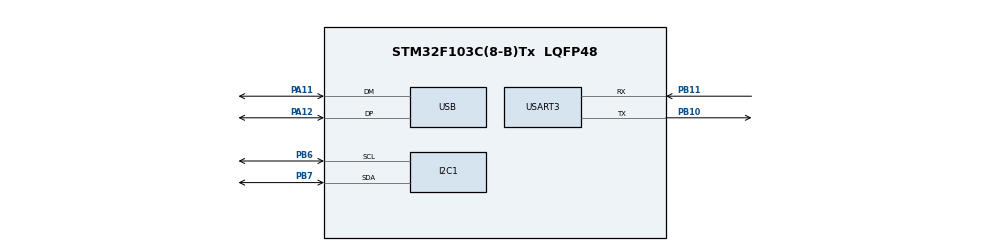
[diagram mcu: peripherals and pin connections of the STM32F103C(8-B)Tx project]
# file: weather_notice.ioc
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Dma.Request0=USART3_RX
Dma.USART3_RX.0.Direction=DMA_PERIPH_TO_MEMORY
Dma.USART3_RX.0.Instance=DMA1_Channel3
Dma.USART3_RX.0.MemDataAlignment=DMA_MDATAALIGN_BYTE
Dma.USART3_RX.0.MemInc=DMA_MINC_ENABLE
Dma.USART3_RX.0.Mode=DMA_NORMAL
Dma.USART3_RX.0.PeriphDataAlignment=DMA_PDATAALIGN_BYTE
Dma.USART3_RX.0.PeriphInc=DMA_PINC_DISABLE
Dma.USART3_RX.0.Priority=DMA_PRIORITY_LOW
Mcu.Family=STM32F1
Mcu.Name=STM32F103C(8-B)Tx
Mcu.Package=LQFP48
NVIC.DMA1_Channel3_IRQn=true\:0\:0\:false\:false\:true\:false\:true\:true
NVIC.PriorityGroup=NVIC_PRIORITYGROUP_4
NVIC.USART3_IRQn=true\:0\:0\:false\:false\:true\:true\:true\:true
NVIC.USB_LP_CAN1_RX0_IRQn=true\:0\:0\:false\:false\:true\:false\:true\:true
PA11.Mode=Device
PA11.Signal=USB_DM
PA12.Mode=Device
PA12.Signal=USB_DP
PA13.Mode=Serial_Wire
PA13.Signal=SYS_JTMS-SWDIO
PA14.Mode=Serial_Wire
PA14.Signal=SYS_JTCK-SWCLK
PB10.Mode=Asynchronous
PB10.Signal=USART3_TX
PB11.Mode=Asynchronous
PB11.Signal=USART3_RX
PB6.Mode=I2C
PB6.Signal=I2C1_SCL
PB7.Mode=I2C
PB7.Signal=I2C1_SDA
PD0-OSC_IN.Mode=HSE-External-Oscillator
PD0-OSC_IN.Signal=RCC_OSC_IN
PD1-OSC_OUT.Mode=HSE-External-Oscillator
PD1-OSC_OUT.Signal=RCC_OSC_OUT
ProjectManager.HeapSize=0x200
ProjectManager.StackSize=0x400
ProjectManager.TargetToolchain=STM32CubeIDE
RCC.AHBFreq_Value=48000000
RCC.APB1CLKDivider=RCC_HCLK_DIV2
RCC.APB1Freq_Value=24000000
RCC.APB1TimFreq_Value=48000000
RCC.APB2Freq_Value=48000000
RCC.APB2TimFreq_Value=48000000
RCC.HCLKFreq_Value=48000000
RCC.PLLMUL=RCC_PLL_MUL6
RCC.SYSCLKFreq_VALUE=48000000
RCC.SYSCLKSource=RCC_SYSCLKSOURCE_PLLCLK
RCC.USBFreq_Value=48000000
USART3.VirtualMode=VM_ASYNC
USB_DEVICE.CLASS_NAME_FS=CDC
USB_DEVICE.VirtualMode=Cdc
USB_DEVICE.VirtualModeFS=Cdc_FS
VP_USB_DEVICE_VS_USB_DEVICE_CDC_FS.Mode=CDC_FS
board=custom

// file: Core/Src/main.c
/* USER CODE BEGIN Header */
/**
  ******************************************************************************
  * @file           : main.c
  * @brief          : Main program body
  ******************************************************************************
  * @attention
  *
  * Copyright (c) 2023 STMicroelectronics.
  * All rights reserved.
  *
  * This software is licensed under terms that can be found in the LICENSE file
  * in the root directory of this software component.
  * If no LICENSE file comes with this software, it is provided AS-IS.
  *
  ******************************************************************************
  */
/* USER CODE END Header */
#include "main.h"
#include "usb_device.h"

/* USER CODE BEGIN Includes */
#include "../../user_lib/esp8266client.h"
#include "../../user_lib/openweather.h"
#include "../../user_lib/ssd1315/ssd1315.h"
/* USER CODE END Includes */

/* USER CODE BEGIN PV */
uint8_t esp_buf[DMA_BUF_SIZE];
/* USER CODE END PV */

void SystemClock_Config(void);
static void MX_GPIO_Init(void);
static void MX_DMA_Init(void);
static void MX_USART3_UART_Init(void);
static void MX_I2C1_Init(void);

/* USER CODE BEGIN 0 */
extern uint8_t CDC_Transmit_FS(uint8_t* Buf, uint16_t Len);

int _write(int32_t file, uint8_t *ptr, int32_t len) {
//	while(CDC_Transmit_FS( (uint8_t*)ptr, (uint16_t)len) == USBD_BUSY);
	CDC_Transmit_FS( (uint8_t*)ptr, (uint16_t)len);
  return len;
}

/**
 * USB CDC ?��결을 초기?�� ?��?��.
 * MX_USB_DEVICE_Init ?��?�� ?��?��?��?��?��?��.
 */
void CDC_RESET() {

	// 초기?���? ?��?�� 출력모드�? �?�?
	LL_GPIO_InitTypeDef GPIO_InitStruct = {0};
	LL_GPIO_ResetOutputPin(GPIOA, LL_GPIO_PIN_12);

	GPIO_InitStruct.Pin = LL_GPIO_PIN_12;
	GPIO_InitStruct.Mode = LL_GPIO_MODE_OUTPUT;
	GPIO_InitStruct.Speed = LL_GPIO_SPEED_FREQ_LOW;
	GPIO_InitStruct.OutputType = LL_GPIO_OUTPUT_OPENDRAIN;
	LL_GPIO_Init(GPIOA, &GPIO_InitStruct);

	// 초기?��
	LL_GPIO_ResetOutputPin(GPIOA, LL_GPIO_PIN_12);
	HAL_Delay(400);
	LL_GPIO_SetOutputPin(GPIOA, LL_GPIO_PIN_12);

//	//?��?��모드�? �?�?
//	GPIO_InitStruct.Mode = LL_GPIO_MODE_INPUT;
//	LL_GPIO_Init(GPIOA, &GPIO_InitStruct);
}

void weather_display(struct weater *W, struct particulate_matter *PM){

	char buf[8];
	ssd1315_Clear(SSD1315_COLOR_BLACK);
	//weather icon
	ssd1315_gotoXY(16, 0);
	ssd1315_weather(W->weather_ID, &weather_icon, SSD1315_COLOR_WHITE);

	//city
	ssd1315_gotoXY(0, 30);
	ssd1315_Puts(W->city, &Font_7x10, SSD1315_COLOR_WHITE);

	//temp
	sprintf(buf, "%d'C", W->temp);
	ssd1315_gotoXY(0, 40);
	ssd1315_Puts(buf, &Font_7x10, SSD1315_COLOR_WHITE);

	//humidity
	sprintf(buf, "%d%c", W->humidity, '%');
	ssd1315_gotoXY(0, 50);
	ssd1315_Puts(buf, &Font_7x10, SSD1315_COLOR_WHITE);

	//pm10
	ssd1315_gotoXY(55, 0);
	ssd1315_Puts("PM10", &Font_7x10, SSD1315_COLOR_WHITE);
	sprintf(buf, "%d", PM->pm10);
	ssd1315_gotoXY(93, 0);
	ssd1315_Puts(buf, &Font_11x18, SSD1315_COLOR_WHITE);

	//pm2.5
	ssd1315_gotoXY(55, 32);
	ssd1315_Puts("PM2.5", &Font_7x10, SSD1315_COLOR_WHITE);
	sprintf(buf, "%d", PM->pm2_5);
	ssd1315_gotoXY(93, 32);
	ssd1315_Puts(buf, &Font_11x18, SSD1315_COLOR_WHITE);

	//time
	ssd1315_gotoXY(50, 50);
	ssd1315_Puts(W->time_str, &Font_7x10, SSD1315_COLOR_WHITE);

	ssd1315_Refresh();
}

void connect_error() {
	ssd1315_Clear(SSD1315_COLOR_BLACK);
	ssd1315_gotoXY(0, 20);
	ssd1315_Puts("wifi error", &Font_11x18, SSD1315_COLOR_WHITE);
	ssd1315_gotoXY(0, 40);
	ssd1315_Puts("Press reset", &Font_11x18, SSD1315_COLOR_WHITE);

	ssd1315_Refresh();
}

/* USER CODE END 0 */

int main(void)
{

  /* MCU Configuration--------------------------------------------------------*/

  /* Reset of all peripherals, Initializes the Flash interface and the Systick. */
  HAL_Init();

  /* Configure the system clock */
  SystemClock_Config();

  /* Initialize all configured peripherals */
  MX_GPIO_Init();
  MX_DMA_Init();
  MX_USART3_UART_Init();
  MX_I2C1_Init();
  CDC_RESET();
  MX_USB_DEVICE_Init();
  /* USER CODE BEGIN 2 */
  ssd1315_Init();
  //wifi Connecting display
  ssd1315_Clear(SSD1315_COLOR_BLACK);
  ssd1315_gotoXY(0, 10);
  ssd1315_Puts("wifi Connecting", &Font_7x10, SSD1315_COLOR_WHITE);
  ssd1315_Refresh();

  esp8266_init(USART3, DMA1, LL_DMA_CHANNEL_3);
  client_init("SSID", "passward", 80);

  weather_init("longitude", "latitude", "api_key");

  /* USER CODE END 2 */

  /* Infinite loop */
  /* USER CODE BEGIN WHILE */

  struct weater W;
  struct particulate_matter PM;

  bool W_connect = false, PM_connect = false;
  int wifi_error = 0;

  while (1)
  {
	  W_connect = weather_get(esp_buf, &W);
	  PM_connect = air_pollution_get(esp_buf, &PM);

	  if (wifi_error > 5) {
		  connect_error();
		  while (1);
	  }

	  if (W_connect & PM_connect) {
		  wifi_error = 0;
		  weather_display(&W, &PM);
		  LL_mDelay(30*60*1000);
	  }

	  wifi_error++;

	  LL_mDelay(2000);

    /* USER CODE END WHILE */

  }
}

void SystemClock_Config(void)
{
  LL_FLASH_SetLatency(LL_FLASH_LATENCY_1);
  while(LL_FLASH_GetLatency()!= LL_FLASH_LATENCY_1)
  {
  }
  LL_RCC_HSE_Enable();

   /* Wait till HSE is ready */
  while(LL_RCC_HSE_IsReady() != 1)
  {

  }
  LL_RCC_PLL_ConfigDomain_SYS(LL_RCC_PLLSOURCE_HSE_DIV_1, LL_RCC_PLL_MUL_6);
  LL_RCC_PLL_Enable();

   /* Wait till PLL is ready */
  while(LL_RCC_PLL_IsReady() != 1)
  {

  }
  LL_RCC_SetAHBPrescaler(LL_RCC_SYSCLK_DIV_1);
  LL_RCC_SetAPB1Prescaler(LL_RCC_APB1_DIV_2);
  LL_RCC_SetAPB2Prescaler(LL_RCC_APB2_DIV_1);
  LL_RCC_SetSysClkSource(LL_RCC_SYS_CLKSOURCE_PLL);

   /* Wait till System clock is ready */
  while(LL_RCC_GetSysClkSource() != LL_RCC_SYS_CLKSOURCE_STATUS_PLL)
  {

  }
  LL_SetSystemCoreClock(48000000);

   /* Update the time base */
  if (HAL_InitTick (TICK_INT_PRIORITY) != HAL_OK)
  {
    Error_Handler();
  }
  LL_RCC_SetUSBClockSource(LL_RCC_USB_CLKSOURCE_PLL);
}

static void MX_I2C1_Init(void)
{

  LL_I2C_InitTypeDef I2C_InitStruct = {0};

  LL_GPIO_InitTypeDef GPIO_InitStruct = {0};

  LL_APB2_GRP1_EnableClock(LL_APB2_GRP1_PERIPH_GPIOB);
  /**I2C1 GPIO Configuration
  PB6   ------> I2C1_SCL
  PB7   ------> I2C1_SDA
  */
  GPIO_InitStruct.Pin = LL_GPIO_PIN_6|LL_GPIO_PIN_7;
  GPIO_InitStruct.Mode = LL_GPIO_MODE_ALTERNATE;
  GPIO_InitStruct.Speed = LL_GPIO_SPEED_FREQ_HIGH;
  GPIO_InitStruct.OutputType = LL_GPIO_OUTPUT_OPENDRAIN;
  LL_GPIO_Init(GPIOB, &GPIO_InitStruct);

  /* Peripheral clock enable */
  LL_APB1_GRP1_EnableClock(LL_APB1_GRP1_PERIPH_I2C1);

  /** I2C Initialization
  */
  LL_I2C_DisableOwnAddress2(I2C1);
  LL_I2C_DisableGeneralCall(I2C1);
  LL_I2C_EnableClockStretching(I2C1);
  I2C_InitStruct.PeripheralMode = LL_I2C_MODE_I2C;
  I2C_InitStruct.ClockSpeed = 100000;
  I2C_InitStruct.DutyCycle = LL_I2C_DUTYCYCLE_2;
  I2C_InitStruct.OwnAddress1 = 0;
  I2C_InitStruct.TypeAcknowledge = LL_I2C_ACK;
  I2C_InitStruct.OwnAddrSize = LL_I2C_OWNADDRESS1_7BIT;
  LL_I2C_Init(I2C1, &I2C_InitStruct);
  LL_I2C_SetOwnAddress2(I2C1, 0);

}

static void MX_USART3_UART_Init(void)
{

  LL_USART_InitTypeDef USART_InitStruct = {0};

  LL_GPIO_InitTypeDef GPIO_InitStruct = {0};

  /* Peripheral clock enable */
  LL_APB1_GRP1_EnableClock(LL_APB1_GRP1_PERIPH_USART3);

  LL_APB2_GRP1_EnableClock(LL_APB2_GRP1_PERIPH_GPIOB);
  /**USART3 GPIO Configuration
  PB10   ------> USART3_TX
  PB11   ------> USART3_RX
  */
  GPIO_InitStruct.Pin = LL_GPIO_PIN_10;
  GPIO_InitStruct.Mode = LL_GPIO_MODE_ALTERNATE;
  GPIO_InitStruct.Speed = LL_GPIO_SPEED_FREQ_HIGH;
  GPIO_InitStruct.OutputType = LL_GPIO_OUTPUT_PUSHPULL;
  LL_GPIO_Init(GPIOB, &GPIO_InitStruct);

  GPIO_InitStruct.Pin = LL_GPIO_PIN_11;
  GPIO_InitStruct.Mode = LL_GPIO_MODE_FLOATING;
  LL_GPIO_Init(GPIOB, &GPIO_InitStruct);

  /* USART3 DMA Init */

  /* USART3_RX Init */
  LL_DMA_SetDataTransferDirection(DMA1, LL_DMA_CHANNEL_3, LL_DMA_DIRECTION_PERIPH_TO_MEMORY);

  LL_DMA_SetChannelPriorityLevel(DMA1, LL_DMA_CHANNEL_3, LL_DMA_PRIORITY_LOW);

  LL_DMA_SetMode(DMA1, LL_DMA_CHANNEL_3, LL_DMA_MODE_NORMAL);

  LL_DMA_SetPeriphIncMode(DMA1, LL_DMA_CHANNEL_3, LL_DMA_PERIPH_NOINCREMENT);

  LL_DMA_SetMemoryIncMode(DMA1, LL_DMA_CHANNEL_3, LL_DMA_MEMORY_INCREMENT);

  LL_DMA_SetPeriphSize(DMA1, LL_DMA_CHANNEL_3, LL_DMA_PDATAALIGN_BYTE);

  LL_DMA_SetMemorySize(DMA1, LL_DMA_CHANNEL_3, LL_DMA_MDATAALIGN_BYTE);

  /* USART3 interrupt Init */
  NVIC_SetPriority(USART3_IRQn, NVIC_EncodePriority(NVIC_GetPriorityGrouping(),0, 0));
  NVIC_EnableIRQ(USART3_IRQn);

  USART_InitStruct.BaudRate = 115200;
  USART_InitStruct.DataWidth = LL_USART_DATAWIDTH_8B;
  USART_InitStruct.StopBits = LL_USART_STOPBITS_1;
  USART_InitStruct.Parity = LL_USART_PARITY_NONE;
  USART_InitStruct.TransferDirection = LL_USART_DIRECTION_TX_RX;
  USART_InitStruct.HardwareFlowControl = LL_USART_HWCONTROL_NONE;
  USART_InitStruct.OverSampling = LL_USART_OVERSAMPLING_16;
  LL_USART_Init(USART3, &USART_InitStruct);
  LL_USART_ConfigAsyncMode(USART3);
  LL_USART_Enable(USART3);

}

static void MX_DMA_Init(void)
{

  /* Init with LL driver */
  /* DMA controller clock enable */
  LL_AHB1_GRP1_EnableClock(LL_AHB1_GRP1_PERIPH_DMA1);

  /* DMA interrupt init */
  /* DMA1_Channel3_IRQn interrupt configuration */
  NVIC_SetPriority(DMA1_Channel3_IRQn, NVIC_EncodePriority(NVIC_GetPriorityGrouping(),0, 0));
  NVIC_EnableIRQ(DMA1_Channel3_IRQn);

}

static void MX_GPIO_Init(void)
{

  /* GPIO Ports Clock Enable */
  LL_APB2_GRP1_EnableClock(LL_APB2_GRP1_PERIPH_GPIOD);
  LL_APB2_GRP1_EnableClock(LL_APB2_GRP1_PERIPH_GPIOB);
  LL_APB2_GRP1_EnableClock(LL_APB2_GRP1_PERIPH_GPIOA);

}

void Error_Handler(void)
{
  __disable_irq();
  while (1)
  {
  }
}
